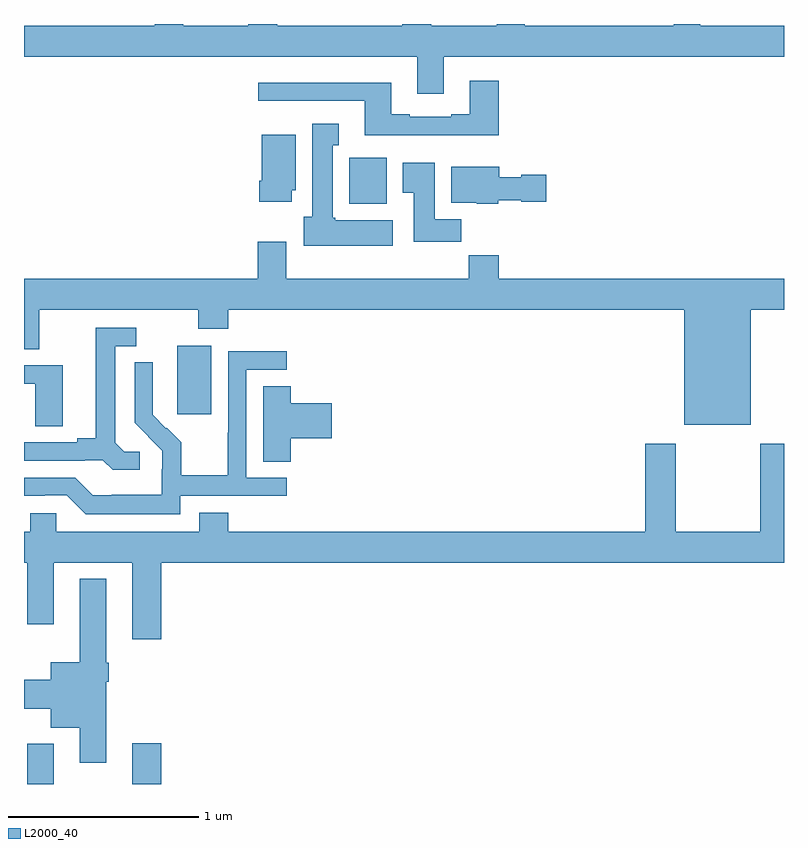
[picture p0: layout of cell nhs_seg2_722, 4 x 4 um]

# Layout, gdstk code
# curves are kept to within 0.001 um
import gdstk
lib = gdstk.Library(unit=1e-6, precision=1e-09)
def R(c, l, rs):  # rectangles x0, y0, x1, y1
    for r in rs: c.add(gdstk.rectangle(r[:2], r[2:], *l))
def P(c, l, *ps):  # polygons
    for p in ps: c.add(gdstk.Polygon(p, *l))
L2000_40 = (2000, 40)

nhs_seg2_722 = lib.new_cell('nhs_seg2_722')
R(nhs_seg2_722, L2000_40, [(147.017,651.8,147.157,652.012), (147.569,651.8,147.722,652.015), (147.806,653.745,147.985,654.106), (148.712,654.854,148.909,655.096)])
P(nhs_seg2_722, L2000_40, [(149.209,655.628),(151,655.628),(151,655.792),(150.559,655.792),(150.559,655.8),(150.419,655.8),(150.419,655.792),(149.635,655.792),(149.635,655.8),(149.488,655.8),(149.488,655.792),(149.143,655.792),(149.143,655.8),(148.991,655.8),(148.991,655.792),(148.334,655.792),(148.334,655.8),(148.181,655.8),(148.181,655.792),(147.837,655.792),(147.837,655.8),(147.689,655.8),(147.689,655.792),(147,655.792),(147,655.628),(149.069,655.628),(149.069,655.434),(149.209,655.434)],
  [(149.498,655.501),(149.345,655.501),(149.345,655.324),(149.249,655.324),(149.249,655.311),(149.029,655.311),(149.029,655.324),(148.933,655.324),(148.933,655.492),(148.233,655.492),(148.233,655.395),(148.793,655.395),(148.793,655.214),(149.498,655.214)],
  [(148.942,654.766),(148.638,654.766),(148.638,654.78),(148.624,654.78),(148.624,655.163),(148.657,655.163),(148.657,655.276),(148.517,655.276),(148.517,654.786),(148.472,654.786),(148.472,654.632),(148.942,654.632)],
  [(148.408,654.924),(148.429,654.924),(148.429,655.216),(148.25,655.216),(148.25,654.976),(148.238,654.976),(148.238,654.864),(148.408,654.864)],
  [(149.3,654.772),(149.161,654.772),(149.161,655.069),(148.994,655.069),(148.994,654.913),(149.051,654.913),(149.051,654.654),(149.3,654.654)],
  [(149.496,654.872),(149.616,654.872),(149.616,654.865),(149.749,654.865),(149.749,655.007),(149.616,655.007),(149.616,654.994),(149.5,654.994),(149.5,655.048),(149.249,655.048),(149.249,654.86),(149.382,654.86),(149.382,654.854),(149.496,654.854)],
  [(150.826,654.296),(151,654.296),(151,654.46),(149.498,654.46),(149.498,654.584),(149.341,654.584),(149.341,654.46),(148.381,654.46),(148.381,654.655),(148.229,654.655),(148.229,654.46),(147,654.46),(147,654.088),(147.079,654.088),(147.079,654.296),(147.916,654.296),(147.916,654.197),(148.076,654.197),(148.076,654.296),(150.476,654.296),(150.476,653.69),(150.826,653.69)],
  [(147.61,653.55),(147.528,653.55),(147.481,653.597),(147.481,654.105),(147.592,654.105),(147.592,654.201),(147.377,654.201),(147.377,653.621),(147.281,653.621),(147.281,653.598),(147,653.598),(147,653.502),(147.32,653.502),(147.32,653.505),(147.414,653.505),(147.466,653.453),(147.61,653.453)],
  [(147.822,653.316),(148.384,653.316),(148.384,653.412),(148.17,653.412),(148.17,653.979),(148.384,653.979),(148.384,654.078),(148.074,654.078),(148.074,653.648),(148.072,653.648),(148.072,653.425),(147.827,653.425),(147.827,653.599),(147.75,653.676),(147.747,653.673),(147.677,653.744),(147.678,654.02),(147.582,654.02),(147.582,653.702),(147.728,653.554),(147.728,653.457),(147.726,653.457),(147.726,653.323),(147.463,653.323),(147.463,653.319),(147.363,653.319),(147.27,653.412),(147,653.412),(147,653.316),(147.11,653.316),(147.11,653.319),(147.225,653.319),(147.325,653.219),(147.822,653.219)],
  [(147.205,654.003),(147,654.003),(147,653.907),(147.06,653.907),(147.06,653.683),(147.205,653.683)],
  [(148.403,653.621),(148.621,653.621),(148.621,653.804),(148.403,653.804),(148.403,653.894),(148.259,653.894),(148.259,653.497),(148.403,653.497)],
  [(147.722,652.964),(151,652.964),(151,653.59),(150.874,653.59),(150.874,653.128),(150.429,653.128),(150.429,653.59),(150.269,653.59),(150.269,653.128),(148.076,653.128),(148.076,653.227),(147.923,653.227),(147.923,653.128),(147.171,653.128),(147.171,653.226),(147.033,653.226),(147.033,653.128),(147,653.128),(147,652.964),(147.017,652.964),(147.017,652.753),(147.018,652.753),(147.018,652.641),(147.157,652.641),(147.157,652.964),(147.569,652.964),(147.569,652.563),(147.722,652.563)],
  [(147.433,652.337),(147.446,652.337),(147.446,652.437),(147.433,652.437),(147.433,652.879),(147.293,652.879),(147.293,652.441),(147.14,652.441),(147.14,652.348),(147,652.348),(147,652.196),(147.14,652.196),(147.14,652.097),(147.293,652.097),(147.293,651.912),(147.433,651.912)])

lib.write_gds('nhs_seg2_722.gds')
